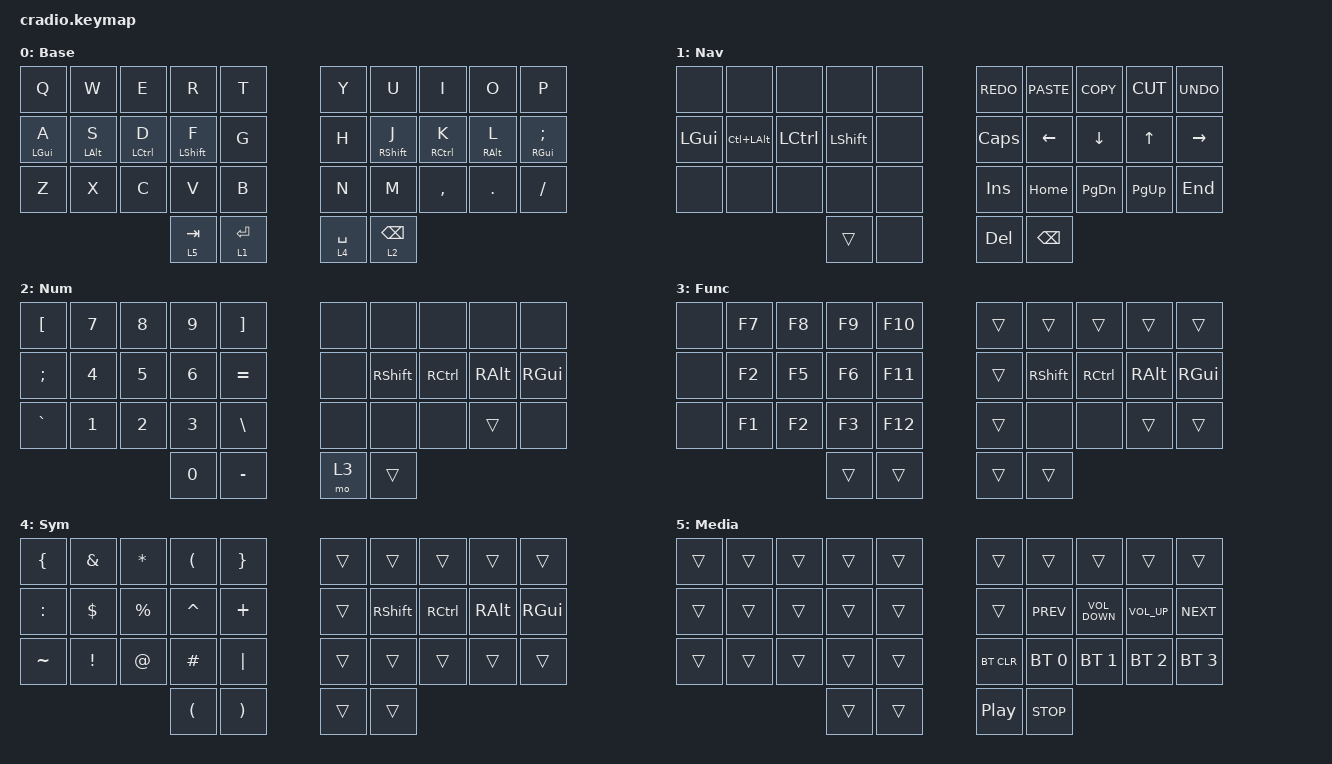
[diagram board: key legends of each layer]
/*
 * Copyright (c) 2020 The ZMK Contributors
 *
 * SPDX-License-Identifier: MIT
 */

#include <behaviors.dtsi>
#include <dt-bindings/zmk/keys.h>
#include <dt-bindings/zmk/bt.h>

&mt {
    //  flavor = "tap-preferred";
    // tapping_term_ms = <200>;
};

/ {
    combos {
        compatible = "zmk,combos";
    };

    keymap {
        compatible = "zmk,keymap";

        Base {
            bindings = <
      &kp Q           &kp W               &kp E             &kp R        &kp T        &kp Y              &kp U        &kp I            &kp O               &kp P
 &mt LGUI A  &mt LEFT_ALT S  &mt LEFT_CONTROL D  &mt LEFT_SHIFT F        &kp G        &kp H  &mt RIGHT_SHIFT J  &mt RCTRL K  &mt RIGHT_ALT L  &mt RIGHT_GUI SEMI
      &kp Z           &kp X               &kp C             &kp V        &kp B        &kp N              &kp M    &kp COMMA          &kp DOT           &kp SLASH
                                                        &lt 5 TAB  &lt 1 ENTER  &lt 4 SPACE    &lt 2 BACKSPACE
            >;
        };

        Nav {
            bindings = <
        &none             &none             &none           &none   &none  &kp K_REDO    &kp K_PASTE     &kp K_COPY    &kp K_CUT  &kp K_UNDO
 &kp LEFT_GUI  &kp LC(LEFT_ALT)  &kp LEFT_CONTROL  &kp LEFT_SHIFT   &none    &kp CAPS       &kp LEFT       &kp DOWN       &kp UP   &kp RIGHT
        &none             &none             &none           &none   &none  &kp INSERT       &kp HOME  &kp PAGE_DOWN  &kp PAGE_UP     &kp END
                                                           &trans   &none     &kp DEL  &kp BACKSPACE
            >;
        };

        Num {
            bindings = <
 &kp LEFT_BRACKET  &kp NUMBER_7  &kp NUMBER_8  &kp NUMBER_9  &kp RIGHT_BRACKET   &none            &none              &none          &none     &none
         &kp SEMI  &kp NUMBER_4  &kp NUMBER_5  &kp NUMBER_6          &kp EQUAL   &none  &kp RIGHT_SHIFT  &kp RIGHT_CONTROL  &kp RIGHT_ALT  &kp RGUI
        &kp GRAVE  &kp NUMBER_1  &kp NUMBER_2  &kp NUMBER_3           &kp BSLH   &none            &none              &none         &trans     &none
                                               &kp NUMBER_0          &kp MINUS   &mo 3           &trans
            >;
        };

        Func {
            bindings = <
  &none  &kp F7  &kp F8  &kp F9  &kp F10  &trans           &trans             &trans         &trans         &trans
  &none  &kp F2  &kp F5  &kp F6  &kp F11  &trans  &kp RIGHT_SHIFT  &kp RIGHT_CONTROL  &kp RIGHT_ALT  &kp RIGHT_GUI
  &none  &kp F1  &kp F2  &kp F3  &kp F12  &trans            &none              &none         &trans         &trans
                         &trans   &trans  &trans           &trans
            >;
        };

        Sym {
            bindings = <
 &kp LEFT_BRACE    &kp AMPS    &kp ASTRK  &kp LEFT_PARENTHESIS        &kp RIGHT_BRACE  &trans           &trans             &trans         &trans    &trans
      &kp COLON  &kp DOLLAR  &kp PERCENT             &kp CARET               &kp PLUS  &trans  &kp RIGHT_SHIFT  &kp RIGHT_CONTROL  &kp RIGHT_ALT  &kp RGUI
      &kp TILDE    &kp EXCL       &kp AT              &kp HASH               &kp PIPE  &trans           &trans             &trans         &trans    &trans
                                          &kp LEFT_PARENTHESIS  &kp RIGHT_PARENTHESIS  &trans           &trans
            >;
        };

        Media {
            bindings = <
 &trans  &trans  &trans  &trans  &trans            &trans        &trans             &trans           &trans        &trans
 &trans  &trans  &trans  &trans  &trans            &trans    &kp C_PREV  &kp C_VOLUME_DOWN  &kp C_VOLUME_UP    &kp C_NEXT
 &trans  &trans  &trans  &trans  &trans        &bt BT_CLR  &bt BT_SEL 0       &bt BT_SEL 1     &bt BT_SEL 2  &bt BT_SEL 3
                         &trans  &trans  &kp C_PLAY_PAUSE    &kp C_STOP
            >;
        };
    };
};
